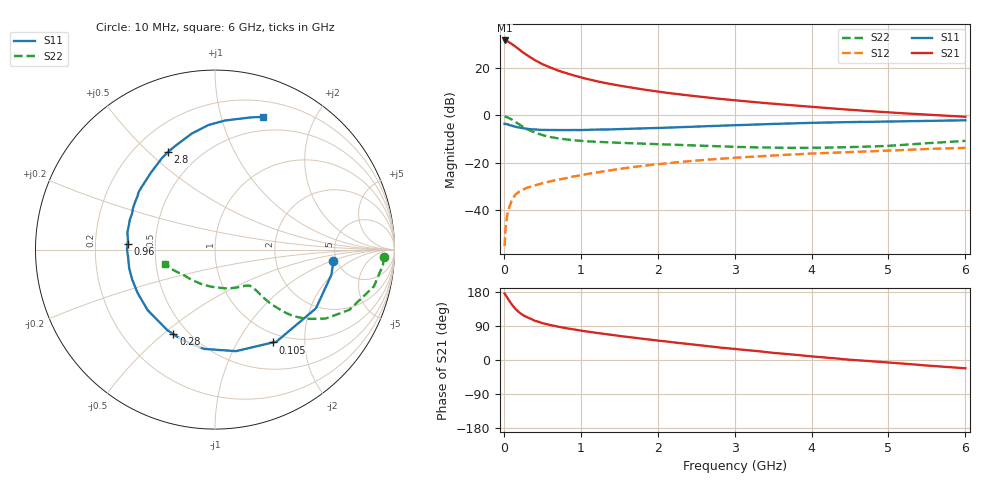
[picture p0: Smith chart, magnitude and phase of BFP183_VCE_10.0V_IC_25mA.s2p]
! Infineon Technologies  Discrete & RF Semiconductors
! BFP183
! VCE = 10.0V,  IC =  25 mA
! Common Emitter S-Parameters:  Jan 2016
# GHz  S  MA  R  50
!  f  S11  S21  S12  S22
! GHz  MAG  ANG  MAG  ANG  MAG  ANG  MAG  ANG
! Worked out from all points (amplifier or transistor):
!   210 points, 10 MHz to 6 GHz, reference 50 ohm
!   highest |S21| = 31.7 dB at 10 MHz (marker M1)
!   |S21| within 3 dB of that: start of sweep to 166.3 MHz
!   unconditionally stable (mu >= 1): 899.2 MHz to 5.953 GHz
!   at 185 MHz: K = 0.38, MSG = 30.5 dB, |S12| = -32.7 dB
!   at 1.52 GHz: K = 1.12, MAG = 15.4 dB, |S12| = -22.6 dB
!   at 6 GHz: K = 0.99, MSG = 6.6 dB, |S12| = -13.8 dB
!   S11 on the Smith chart (normalised r, x): 10 MHz: 4.67, -1.08; 105 MHz: 0.86, -1.42; 280 MHz: 0.42, -0.54; 960 MHz: 0.34, +0.03; 2.8 GHz: 0.34, +0.58; 6 GHz: 0.35, +1.37
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0.01  0.6628 -5.6  38.53 175.4  0.0017 69.1  0.9426 -2.4
0.02  0.6636 -12.2  38.13 172.5  0.0036 70.8  0.939 -5.3
0.05  0.6507 -30.2  36.9 162.1  0.0087 74.7  0.909 -13.0
0.1  0.6165 -56.2  32.88 147.0  0.0153 63.7  0.821 -24.1
0.105  0.6088 -58.2  32.4 145.9  0.0159 63.0  0.811 -24.8
0.15  0.5778 -78.3  28.61 134.8  0.0211 58.4  0.7268 -31.9
0.2  0.5565 -96.3  24.77 125.4  0.0243 53.8  0.639 -37.2
0.24  0.5381 -107.0  22.05 119.7  0.0262 51.3  0.5811 -39.9
0.28  0.5252 -116.2  19.8 115.1  0.0283 50.0  0.5329 -41.6
0.3  0.5214 -120.6  18.77 112.8  0.0293 49.5  0.5103 -42.3
0.4  0.5046 -138.0  14.87 103.8  0.0328 48.8  0.4328 -44.2
0.5  0.4944 -150.6  12.16 97.4  0.0364 48.6  0.382 -44.7
0.7  0.4892 -167.9  8.916 88.1  0.0435 50.6  0.3259 -44.6
0.96  0.4882 176.2  6.635 79.0  0.0526 51.4  0.2923 -45.2
1.02  0.4895 172.8  6.241 77.0  0.0547 51.6  0.2869 -45.5
1.5  0.5122 153.0  4.268 63.5  0.0734 51.3  0.2625 -50.0
2.02  0.5423 136.2  3.148 50.9  0.093 48.0  0.246 -58.5
2.8  0.6033 115.7  2.244 33.0  0.1203 41.5  0.222 -76.3
3.1  0.6248 109.1  2.017 27.2  0.1294 38.8  0.2131 -84.3
4.1  0.6989 91.6  1.473 7.9  0.1577 29.8  0.2066 -115.4
5.1  0.7439 78.9  1.129 -8.1  0.1815 22.4  0.2315 -144.2
6  0.7872 70.0  0.934 -22.0  0.2052 14.4  0.2882 -164.4
